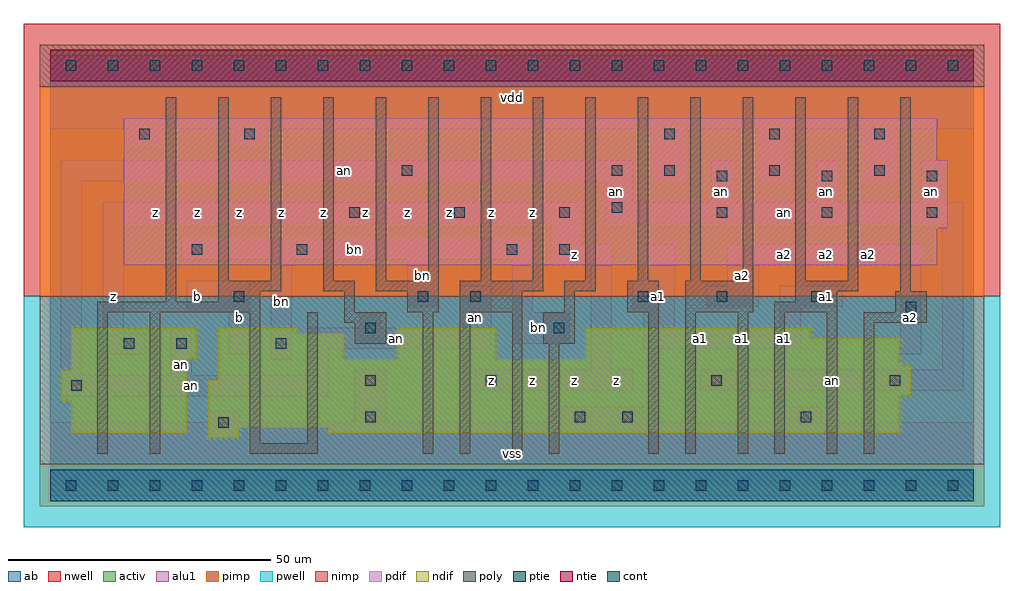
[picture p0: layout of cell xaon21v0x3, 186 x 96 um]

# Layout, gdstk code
import gdstk
lib = gdstk.Library(unit=1e-6, precision=1e-09)
def R(c, l, rs):  # rectangles x0, y0, x1, y1
    for r in rs: c.add(gdstk.rectangle(r[:2], r[2:], *l))
def A(c, l, x, y, w, h, nx, ny, dx, dy):  # array of equal rectangles
    R(c, l, [(x+i*dx, y+j*dy, x+i*dx+w, y+j*dy+h) for i in range(nx) for j in range(ny)])
ndif = (3, 0)
pdif = (4, 0)
ntie = (5, 0)
ptie = (6, 0)
cont = (25, 0)
pwell = (41, 0)
nwell = (42, 0)
activ = (43, 0)
pimp = (44, 0)
nimp = (45, 0)
poly = (46, 0)
alu1 = (49, 0)
ab = (63, 0)

xaon21v0x3 = lib.new_cell('xaon21v0x3')
R(xaon21v0x3, ndif, [(30,9,36,11), (4,10,26,16), (53,10,162,11), (30,11,162,17), (2,16,26,22), (30,17,164,20), (32,20,164,23), (4,22,26,24), (32,23,162,24), (4,24,28,30), (32,24,56,29), (66,24,85,30), (102,24,162,28), (102,28,145,30), (32,29,47,30)])
R(xaon21v0x3, pdif, [(14,42,169,49), (14,49,171,62), (14,62,169,70)])
R(xaon21v0x3, ntie, [(0,77,176,83)])
R(xaon21v0x3, ptie, [(0,-3,176,3)])
A(xaon21v0x3, cont, 3, -1, 2, 2, 22, 2, 8, 80)
A(xaon21v0x3, cont, 57, 51, 2, 2, 3, 1, 20, 0)
A(xaon21v0x3, cont, 127, 51, 2, 2, 3, 2, 20, 7)
A(xaon21v0x3, cont, 117, 59, 2, 2, 3, 2, 20, 7)
R(xaon21v0x3, cont, [(32,11,34,13), (60,12,62,14), (100,12,102,14), (109,12,111,14), (143,12,145,14), (4,18,6,20), (60,19,62,21), (83,19,85,21), (126,19,128,21), (160,19,162,21), (14,26,16,28), (24,26,26,28), (43,26,45,28), (60,29,62,31), (96,29,98,31), (163,33,165,35), (35,35,37,37), (70,35,72,37), (80,35,82,37), (112,35,114,37), (127,35,129,37), (145,35,147,37), (27,44,29,46), (47,44,49,46), (87,44,89,46), (97,44,99,46), (107,52,109,54), (67,59,69,61), (107,59,109,61), (17,66,19,68), (37,66,39,68)])
R(xaon21v0x3, pwell, [(-5,-8,181,36)])
R(xaon21v0x3, nwell, [(-5,36,181,88)])
R(xaon21v0x3, activ, [(0,-3,176,3), (30,9,36,11), (4,10,26,16), (53,10,162,11), (30,11,162,17), (2,16,26,22), (30,17,164,20), (32,20,164,23), (4,22,26,24), (32,23,162,24), (4,24,28,30), (32,24,56,29), (66,24,85,30), (102,24,162,28), (102,28,145,30), (32,29,47,30), (14,42,169,49), (14,49,171,62), (14,62,169,70), (0,77,176,83)])
R(xaon21v0x3, pimp, [(-2,-4,178,4), (-2,36,178,76)])
R(xaon21v0x3, nimp, [(-2,4,178,36), (-2,76,178,84)])
A(xaon21v0x3, poly, 32, 39, 2, 35, 13, 1, 10, 0)
R(xaon21v0x3, poly, [(9,6,11,33), (19,6,21,33), (38,6,51,8), (71,6,73,33), (78,6,80,33), (88,6,90,33), (95,6,97,27), (114,6,116,33), (121,6,123,33), (131,6,133,33), (138,6,140,33), (148,6,150,33), (155,6,157,31), (38,8,40,33), (49,8,51,33), (58,27,64,31), (94,27,100,33), (56,31,64,33), (155,31,167,33), (9,33,40,35), (56,33,58,37), (68,33,74,37), (78,33,90,37), (98,33,100,37), (110,33,116,39), (121,33,134,39), (138,33,150,35), (161,33,167,37), (22,35,24,74), (32,35,40,37), (142,35,150,37), (32,37,44,39), (52,37,58,39), (62,37,74,39), (78,37,94,39), (98,37,104,39), (142,37,154,39), (162,37,164,74)])
A(xaon21v0x3, alu1, 126, 54, 4, 8, 3, 1, 20, 0)
A(xaon21v0x3, alu1, 115, 58, 6, 10, 3, 1, 20, 0)
R(xaon21v0x3, alu1, [(0,-2,176,12), (30,12,36,14), (58,12,64,22), (97,12,113,15), (141,12,147,15), (2,17,53,21), (81,18,111,22), (124,18,174,22), (2,21,6,58), (23,21,27,30), (49,21,53,26), (103,22,107,42), (170,22,174,50), (42,24,46,43), (10,25,18,29), (34,25,38,33), (162,25,166,42), (49,26,84,30), (113,26,143,30), (88,27,99,33), (10,29,14,50), (59,30,63,33), (78,30,84,38), (113,30,119,33), (139,30,143,34), (26,33,38,39), (88,33,92,43), (111,33,119,39), (68,34,74,43), (125,34,135,38), (139,34,151,38), (129,38,135,42), (113,39,119,46), (96,42,107,46), (129,42,166,46), (25,43,92,47), (96,46,101,50), (10,50,101,54), (106,50,174,54), (106,54,111,58), (2,58,111,62), (15,65,21,68), (35,65,41,68), (0,68,176,82)])
R(xaon21v0x3, ab, [(0,0,176,80)])
xaon21v0x3.add(gdstk.Label('an', (25,23), layer=49, texttype=0))
xaon21v0x3.add(gdstk.Label('an', (27,19), layer=49, texttype=0))
xaon21v0x3.add(gdstk.Label('bn', (44,35), layer=49, texttype=0))
xaon21v0x3.add(gdstk.Label('an', (66,28), layer=49, texttype=0))
xaon21v0x3.add(gdstk.Label('an', (81,32), layer=49, texttype=0))
xaon21v0x3.add(gdstk.Label('bn', (93,30), layer=49, texttype=0))
xaon21v0x3.add(gdstk.Label('bn', (71,40), layer=49, texttype=0))
xaon21v0x3.add(gdstk.Label('bn', (58,45), layer=49, texttype=0))
xaon21v0x3.add(gdstk.Label('an', (128,56), layer=49, texttype=0))
xaon21v0x3.add(gdstk.Label('an', (108,56), layer=49, texttype=0))
xaon21v0x3.add(gdstk.Label('an', (56,60), layer=49, texttype=0))
xaon21v0x3.add(gdstk.Label('an', (149,20), layer=49, texttype=0))
xaon21v0x3.add(gdstk.Label('an', (148,56), layer=49, texttype=0))
xaon21v0x3.add(gdstk.Label('an', (168,56), layer=49, texttype=0))
xaon21v0x3.add(gdstk.Label('an', (140,52), layer=49, texttype=0))
xaon21v0x3.add(gdstk.Label('b', (28,36), layer=49, texttype=0))
xaon21v0x3.add(gdstk.Label('z', (12,36), layer=49, texttype=0))
xaon21v0x3.add(gdstk.Label('z', (20,52), layer=49, texttype=0))
xaon21v0x3.add(gdstk.Label('z', (28,52), layer=49, texttype=0))
xaon21v0x3.add(gdstk.Label('b', (36,32), layer=49, texttype=0))
xaon21v0x3.add(gdstk.Label('z', (44,52), layer=49, texttype=0))
xaon21v0x3.add(gdstk.Label('z', (52,52), layer=49, texttype=0))
xaon21v0x3.add(gdstk.Label('z', (60,52), layer=49, texttype=0))
xaon21v0x3.add(gdstk.Label('z', (36,52), layer=49, texttype=0))
xaon21v0x3.add(gdstk.Label('vss', (88,6), layer=49, texttype=0))
xaon21v0x3.add(gdstk.Label('z', (100,20), layer=49, texttype=0))
xaon21v0x3.add(gdstk.Label('z', (84,20), layer=49, texttype=0))
xaon21v0x3.add(gdstk.Label('z', (92,20), layer=49, texttype=0))
xaon21v0x3.add(gdstk.Label('z', (100,44), layer=49, texttype=0))
xaon21v0x3.add(gdstk.Label('z', (76,52), layer=49, texttype=0))
xaon21v0x3.add(gdstk.Label('z', (84,52), layer=49, texttype=0))
xaon21v0x3.add(gdstk.Label('z', (92,52), layer=49, texttype=0))
xaon21v0x3.add(gdstk.Label('z', (68,52), layer=49, texttype=0))
xaon21v0x3.add(gdstk.Label('vdd', (88,74), layer=49, texttype=0))
xaon21v0x3.add(gdstk.Label('z', (108,20), layer=49, texttype=0))
xaon21v0x3.add(gdstk.Label('a1', (124,28), layer=49, texttype=0))
xaon21v0x3.add(gdstk.Label('a1', (132,28), layer=49, texttype=0))
xaon21v0x3.add(gdstk.Label('a1', (140,28), layer=49, texttype=0))
xaon21v0x3.add(gdstk.Label('a2', (132,40), layer=49, texttype=0))
xaon21v0x3.add(gdstk.Label('a2', (140,44), layer=49, texttype=0))
xaon21v0x3.add(gdstk.Label('a1', (116,36), layer=49, texttype=0))
xaon21v0x3.add(gdstk.Label('a2', (164,32), layer=49, texttype=0))
xaon21v0x3.add(gdstk.Label('a1', (148,36), layer=49, texttype=0))
xaon21v0x3.add(gdstk.Label('a2', (148,44), layer=49, texttype=0))
xaon21v0x3.add(gdstk.Label('a2', (156,44), layer=49, texttype=0))

lib.write_gds('xaon21v0x3.gds')
